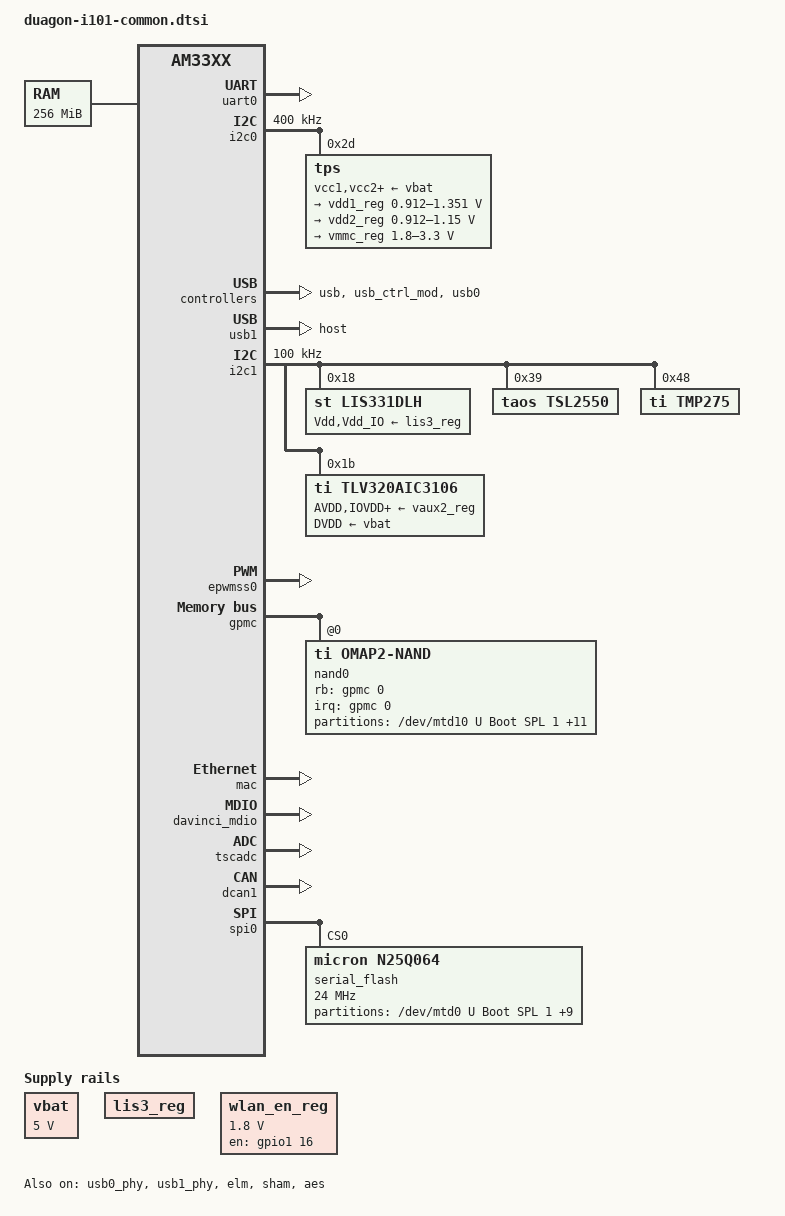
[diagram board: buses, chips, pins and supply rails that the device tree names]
/*
 * Copyright (C) 2012 Texas Instruments Incorporated - http://www.ti.com/
 *
 * This program is free software; you can redistribute it and/or modify
 * it under the terms of the GNU General Public License version 2 as
 * published by the Free Software Foundation.
 */
/dts-v1/;

#include "am33xx.dtsi"
#include <dt-bindings/interrupt-controller/irq.h>

/ {
	cpus {
		cpu@0 {
			cpu0-supply = <&vdd1_reg>;
		};
	};

	memory@80000000 {
		device_type = "memory";
		reg = <0x80000000 0x10000000>; /* 256 MB */
	};

	chosen {
		stdout-path = &uart0;
	};

	vbat: fixedregulator0 {
		compatible = "regulator-fixed";
		regulator-name = "vbat";
		regulator-min-microvolt = <5000000>;
		regulator-max-microvolt = <5000000>;
		regulator-boot-on;
	};

	lis3_reg: fixedregulator1 {
		compatible = "regulator-fixed";
		regulator-name = "lis3_reg";
		regulator-boot-on;
	};

	wlan_en_reg: fixedregulator2 {
		compatible = "regulator-fixed";
		regulator-name = "wlan-en-regulator";
		regulator-min-microvolt = <1800000>;
		regulator-max-microvolt = <1800000>;

		/* WLAN_EN GPIO for this board - Bank1, pin16 */
		gpio = <&gpio1 16 0>;

		/* WLAN card specific delay */
		startup-delay-us = <70000>;
		enable-active-high;
	};

	backplane: backplane@018000000 {
		compatible = "duagon,ionia-backplane";
		reg = <0x18000000 4000000>;	// 64 MB - async area
		// sync area 0x1C000000..0x1FFFFFFF

		slots {
			#address-cells = <1>;
			#size-cells = <1>;

			slot0: slot0@000 {
				reg = <0x000 0x08>;
				label = "bp channel 0";
			};
			slot1: slot0@010 {
				reg = <0x010 0x08>;
				label = "bp channel 0";
			};
			slot2: slot0@020 {
				reg = <0x020 0x08>;
				label = "bp channel 2";
			};
			slot3: slot0@030 {
				reg = <0x030 0x08>;
				label = "bp channel 3";
			};
			slot4: slot0@040 {
				reg = <0x040 0x08>;
				label = "bp channel 4";
			};
			slot5: slot0@050 {
				reg = <0x050 0x08>;
				label = "bp channel 5";
			};
			slot6: slot0@060 {
				reg = <0x060 0x08>;
				label = "bp channel 6";
			};
			slot7: slot0@070 {
				reg = <0x070 0x08>;
				label = "bp channel 7";
			};
			slot8: slot0@080 {
				reg = <0x080 0x08>;
				label = "bp channel 8";
			};
			slot9: slot0@090 {
				reg = <0x090 0x08>;
				label = "bp channel 9";
			};
			slot10: slot0@0a0 {
				reg = <0x0a0 0x08>;
				label = "bp channel 10";
			};
			slot11: slot0@0b0 {
				reg = <0x0b0 0x08>;
				label = "bp channel 11";
			};
			slot12: slot0@0c0 {
				reg = <0x0c0 0x08>;
				label = "bp channel 12";
			};
			slot13: slot0@0d0 {
				reg = <0x0d0 0x08>;
				label = "bp channel 13";
			};
			slot14: slot0@0e0 {
				reg = <0x0e0 0x08>;
				label = "bp channel 14";
			};
			slot15: slot0@0f0 {
				reg = <0x0f0 0x08>;
				label = "bp channel 15";
			};
			slot16: slot0@100 {
				reg = <0x100 0x08>;
				label = "bp channel 16";
			};
			slot17: slot0@110 {
				reg = <0x110 0x08>;
				label = "bp channel 17";
			};
			slot18: slot0@120 {
				reg = <0x120 0x08>;
				label = "bp channel 18";
			};
			slot19: slot0@130 {
				reg = <0x130 0x08>;
				label = "bp channel 19";
			};
			slot20: slot0@140 {
				reg = <0x140 0x08>;
				label = "bp channel 20";
			};
			slot21: slot0@150 {
				reg = <0x150 0x08>;
				label = "bp channel 21";
			};
			slot22: slot0@160 {
				reg = <0x160 0x08>;
				label = "bp channel 22";
			};
			slot23: slot0@180 {
				reg = <0x180 0x08>;
				label = "bp channel 23";
			};
			slot24: slot0@190 {
				reg = <0x190 0x08>;
				label = "bp channel 24";
			};
		};
	};
};

&am33xx_pinmux {
	pinctrl-names = "default";
	pinctrl-0 = <&clkout2_pin>;

	/* Module pin mux for SPI flash */
	/* FIXME: still needed ? daughter board ? */
	spi0_pins: spi0_pins {
		pinctrl-single,pins = <
			AM33XX_IOPAD(0x950, PIN_INPUT_PULLDOWN | MUX_MODE0)	/* spi0_sclk.spi0_sclk */
			AM33XX_IOPAD(0x954, PIN_INPUT_PULLUP | MUX_MODE0)	/* spi0_d0.spi0_d0 */
			AM33XX_IOPAD(0x958, PIN_INPUT_PULLDOWN | MUX_MODE0)	/* spi0_d1.spi0_d1 */
			AM33XX_IOPAD(0x95c, PIN_INPUT_PULLUP | MUX_MODE0)	/* spi0_cs0.spi0_cs0 */
		>;
	};

	i2c0_pins: pinmux_i2c0_pins {
		pinctrl-single,pins = <
			AM33XX_IOPAD(0x988, PIN_INPUT_PULLUP | MUX_MODE0)	/* i2c0_sda.i2c0_sda */
			AM33XX_IOPAD(0x98c, PIN_INPUT_PULLUP | MUX_MODE0)	/* i2c0_scl.i2c0_scl */
		>;
	};

	i2c1_pins: pinmux_i2c1_pins {
		pinctrl-single,pins = <
			AM33XX_IOPAD(0x978, PIN_INPUT_PULLUP | SLEWCTRL_SLOW | MUX_MODE2)	/* uart1_ctsn.i2c1_sda */
			AM33XX_IOPAD(0x97c, PIN_INPUT_PULLUP | SLEWCTRL_SLOW | MUX_MODE2)	/* uart1_rtsn.i2c1_scl */
		>;
	};

	uart0_pins: pinmux_uart0_pins {
		pinctrl-single,pins = <
			AM33XX_IOPAD(0x970, PIN_INPUT_PULLUP | MUX_MODE0)	/* uart0_rxd.uart0_rxd */
			AM33XX_IOPAD(0x974, PIN_OUTPUT_PULLDOWN | MUX_MODE0)	/* uart0_txd.uart0_txd */
		>;
	};

	/* hand out clkout2 clock to peripherals (codecs ? gpmc ?) */
	clkout2_pin: pinmux_clkout2_pin {
		pinctrl-single,pins = <
			AM33XX_IOPAD(0x9b4, PIN_OUTPUT_PULLDOWN | MUX_MODE3)	/* xdma_event_intr1.clkout2 */
		>;
	};

	/* FIXME: really neeeded ? */
	ecap0_pins: backlight_pins {
		pinctrl-single,pins = <
			AM33XX_IOPAD(0x964, MUX_MODE0)	/* eCAP0_in_PWM0_out.eCAP0_in_PWM0_out */
		>;
	};

	/* FIXME: separate them by board ? */
	cpsw_sleep: cpsw_sleep {
		pinctrl-single,pins = <
			/* Slave 1 reset value */
			// FIXME: should we really map them to gpios ?
			AM33XX_IOPAD(0x914, PIN_INPUT_PULLDOWN | MUX_MODE7)
			AM33XX_IOPAD(0x918, PIN_INPUT_PULLDOWN | MUX_MODE7)
			AM33XX_IOPAD(0x91c, PIN_INPUT_PULLDOWN | MUX_MODE7)
			AM33XX_IOPAD(0x920, PIN_INPUT_PULLDOWN | MUX_MODE7)
			AM33XX_IOPAD(0x924, PIN_INPUT_PULLDOWN | MUX_MODE7)
			AM33XX_IOPAD(0x928, PIN_INPUT_PULLDOWN | MUX_MODE7)
			AM33XX_IOPAD(0x92c, PIN_INPUT_PULLDOWN | MUX_MODE7)
			AM33XX_IOPAD(0x930, PIN_INPUT_PULLDOWN | MUX_MODE7)
			AM33XX_IOPAD(0x934, PIN_INPUT_PULLDOWN | MUX_MODE7)
			AM33XX_IOPAD(0x938, PIN_INPUT_PULLDOWN | MUX_MODE7)
			AM33XX_IOPAD(0x93c, PIN_INPUT_PULLDOWN | MUX_MODE7)
			AM33XX_IOPAD(0x940, PIN_INPUT_PULLDOWN | MUX_MODE7)
		>;
	};

	davinci_mdio_default: davinci_mdio_default {
		pinctrl-single,pins = <
			/* MDIO */
			AM33XX_IOPAD(0x948, PIN_INPUT_PULLUP | MUX_MODE0)	/* mdio_data.mdio_data */
			AM33XX_IOPAD(0x94c, PIN_OUTPUT_PULLUP | MUX_MODE0)	/* mdio_clk.mdio_clk */
		>;
	};

	davinci_mdio_sleep: davinci_mdio_sleep {
		pinctrl-single,pins = <
			/* MDIO reset value */
			AM33XX_IOPAD(0x948, PIN_INPUT_PULLDOWN | MUX_MODE7)
			AM33XX_IOPAD(0x94c, PIN_INPUT_PULLDOWN | MUX_MODE7)
		>;
	};

	usb0_pins: pinmux_usb0_pins {
		pinctrl-single,pins = <
			AM33XX_IOPAD(0x0A1C, MUX_MODE0 | PIN_OUTPUT_PULLDOWN)	/* usb0_drvvbus.usb0_drvvbus */
		>;
	};

	usb1_pins: pinmux_usb1_pins {
		pinctrl-single,pins = <
			AM33XX_IOPAD(0x0A34, MUX_MODE0 | PIN_OUTPUT_PULLDOWN)	/* usb1_drvvbus.usb1_drvvbus */
		>;
	};

	// FIXME: check IO directions
	dcan1_pins_default: dcan1_pins_default {
		pinctrl-single,pins = <
			AM33XX_IOPAD(0x980, MUX_MODE2 | PIN_INPUT_PULLUP)	/* uart1_txd.dcan1_rx */
			AM33XX_IOPAD(0x984, MUX_MODE2 | PIN_INPUT_PULLUP)	/* uart1_rxd.dcan1_tx */
		>;
	};
};

&uart0 {
	pinctrl-names = "default";
	pinctrl-0 = <&uart0_pins>;

	status = "okay";
};

&i2c0 {
	pinctrl-names = "default";
	pinctrl-0 = <&i2c0_pins>;

	status = "okay";
	clock-frequency = <400000>;

	tps: tps@2d {
		reg = <0x2d>;
	};
};

&usb {
	status = "okay";
};

&usb_ctrl_mod {
	status = "okay";
};

&usb0_phy {
	status = "okay";
};

&usb1_phy {
	status = "okay";
};

&usb0 {
	status = "okay";
	pinctrl-names = "default";
	pinctrl-0 = <&usb0_pins>;
};

&usb1 {
	status = "okay";
	dr_mode = "host";
	pinctrl-names = "default";
	pinctrl-0 = <&usb1_pins>;
};

&cppi41dma  {
	status = "okay";
};

&i2c1 {
	pinctrl-names = "default";
	pinctrl-0 = <&i2c1_pins>;

	status = "okay";
	clock-frequency = <100000>;

	lis331dlh: lis331dlh@18 {
		compatible = "st,lis331dlh", "st,lis3lv02d";
		reg = <0x18>;
		Vdd-supply = <&lis3_reg>;
		Vdd_IO-supply = <&lis3_reg>;

		st,click-single-x;
		st,click-single-y;
		st,click-single-z;
		st,click-thresh-x = <10>;
		st,click-thresh-y = <10>;
		st,click-thresh-z = <10>;
		st,irq1-click;
		st,irq2-click;
		st,wakeup-x-lo;
		st,wakeup-x-hi;
		st,wakeup-y-lo;
		st,wakeup-y-hi;
		st,wakeup-z-lo;
		st,wakeup-z-hi;
		st,min-limit-x = <120>;
		st,min-limit-y = <120>;
		st,min-limit-z = <140>;
		st,max-limit-x = <550>;
		st,max-limit-y = <550>;
		st,max-limit-z = <750>;
	};

	tsl2550: tsl2550@39 {
		compatible = "taos,tsl2550";
		reg = <0x39>;
	};

	tmp275: tmp275@48 {
		compatible = "ti,tmp275";
		reg = <0x48>;
	};

	tlv320aic3106: tlv320aic3106@1b {
		#sound-dai-cells = <0>;
		compatible = "ti,tlv320aic3106";
		reg = <0x1b>;
		status = "okay";

		/* Regulators */
		AVDD-supply = <&vaux2_reg>;
		IOVDD-supply = <&vaux2_reg>;
		DRVDD-supply = <&vaux2_reg>;
		DVDD-supply = <&vbat>;
	};
};

&lcdc {
	status = "disable";
	blue-and-red-wiring = "crossed";
};

&elm {
	status = "okay";
};

&epwmss0 {
	status = "okay";

	ecap0: ecap@48300100 {
		status = "okay";
		pinctrl-names = "default";
		pinctrl-0 = <&ecap0_pins>;
	};
};

&gpmc {
	status = "okay";
	pinctrl-names = "default";
	pinctrl-0 = <&nandflash_pins_s0>;
#if 0
	ranges = <0 0 0x08000000 0x1000000	/* CS0: 16MB for NAND */
		  2 0 0x18000000 0x4000000	/* CS2: 64MB for FPGA async */
		  3 0 0x1C000000 0x4000000>;	/* CS3: 64MB for FPGA sync */*
#else
	ranges = <0 0 0x08000000 0x1000000>;	/* CS0: 16MB for NAND */
#endif
	nand0: nand@0,0 {
		compatible = "ti,omap2-nand";
		reg = <0 0 4>; /* CS0, offset 0, IO size 4 */
		interrupt-parent = <&gpmc>;
		interrupts = <0 IRQ_TYPE_NONE>, /* fifoevent */
			     <1 IRQ_TYPE_NONE>;	/* termcount */
		rb-gpios = <&gpmc 0 GPIO_ACTIVE_HIGH>; /* gpmc_wait0 */ // FIXME
		ti,nand-ecc-opt = "bch8";
		ti,elm-id = <&elm>;
		nand-bus-width = <8>;
		gpmc,device-width = <1>;
		gpmc,sync-clk-ps = <0>;
		gpmc,cs-on-ns = <0>;
		gpmc,cs-rd-off-ns = <44>;
		gpmc,cs-wr-off-ns = <44>;
		gpmc,adv-on-ns = <6>;
		gpmc,adv-rd-off-ns = <34>;
		gpmc,adv-wr-off-ns = <44>;
		gpmc,we-on-ns = <0>;
		gpmc,we-off-ns = <40>;
		gpmc,oe-on-ns = <0>;
		gpmc,oe-off-ns = <54>;
		gpmc,access-ns = <64>;
		gpmc,rd-cycle-ns = <82>;
		gpmc,wr-cycle-ns = <82>;
		gpmc,bus-turnaround-ns = <0>;
		gpmc,cycle2cycle-delay-ns = <0>;
		gpmc,clk-activation-ns = <0>;
		gpmc,wr-access-ns = <40>;
		gpmc,wr-data-mux-bus-ns = <0>;
		/* MTD partition table */
		/* All SPL-* partitions are sized to minimal length
		 * which can be independently programmable. For
		 * NAND flash this is equal to size of erase-block */
		#address-cells = <1>;
		#size-cells = <1>;
		partition@0 {
			label = "/dev/mtd10 U Boot SPL 1";
			reg = <0x000000000 0x000080000>;
		};
		partition@1 {
			label = "/dev/mtd11 U-Boot 1";
			reg = <0x000080000 0x000080000>;
		};
		partition@2 {
			label = "/dev/mtd12 U-Boot Env 1_1";
			reg = <0x000100000 0x000080000>;
		};
		partition@3 {
			label = "/dev/mtd13 U-Boot Env 1_2";
			reg = <0x000180000 0x000080000>;
		};
		partition@4 {
			label = "/dev/mtd14 Kernel 1";
			reg = <0x000200000 0x000e00000>;
		};
		partition@5 {
			label = "/dev/mtd15 File System";
			reg = <0x001000000 0x01f000000>;
		};
		partition@6 {
			label = "/dev/mtd16 U Boot SPL 2";
			reg = <0x020000000 0x000080000>;
		};
		partition@7 {
			label = "/dev/mtd17 U-Boot 2";
			reg = <0x020080000 0x000080000>;
		};
		partition@8 {
			label = "/dev/mtd18 U-Boot Env 2_1";
			reg = <0x020100000 0x000080000>;
		};
		partition@9 {
			label = "/dev/mtd19 U-Boot Env 2_2";
			reg = <0x020180000 0x000080000>;
		};
		partition@10 {
			label = "/dev/mtd20 Kernel 2";
			reg = <0x020200000 0x000e00000>;
		};
		partition@11 {
			label = "/dev/mtd21 File System";
			reg = <0x021000000 0x01f000000>;
		};
	};

#if 0
	backplane: backplane@018000000 {
		compatible = "duagon,i101-backplane";
		// FIXME
		reg = <2 0 4>; /* CS2, offset 0, IO size 4 */

		/* config1 */
		gpmc,burst-length	= <4>;
		gpmc,device-width	= <2>;
		gpmc,mux-add-data	= <2>;
		gpmc,wait-pin		= <0>;
		// gpmc clock 	= 1/2 fclk (GPMCFCLKDIVIDER=1)

		/* config2 */
		gpmc,cs-wr-off-ns	= <44>;	// FIXME: 7 fclk cylces
		gpmc,cs-rd-off-ns	= <44>;	// FIXME: 11 fclk cycles
		gpmc,cs-on-ns		= <0>;
		// CSEXTRADELAY		= 0

		/* config3 */
		gpmc,adv-rd-off-ns	= <34>;	// FIXME: 3 fclk cycles
		gpmc,adv-wr-off-ns	= <44>;	// FIXME: 3 fclk cycles
		gpmc,adv-on-ns		= <6>;	// FIXME: 1 fclk cycles

		/* config4 */
		gpmc,we-off-ns		= <40>;	// FIXME: 7 fclk cycles
		gpmc,we-on-ns		= <0>;	// FIXME: 3 fclk cycles
		gpmc,oe-off-ns		= <54>;	// FIXME: 11 fclk cycles
		gpmc,oe-on-ns		= <0>;	// FIXME: 3 fclk cycles
		// WEEXTRADELAY		= 0
		// OEAADMUXOFFTIME	= 3
		// OEEXTRADELAY		= 0
		// OEAADMUXONTIME	= 1

		/* config5 */
		// PAGEBURSTACCESSTIME=1
		gpmc,rd-cycle-ns		= <82>;	// FIXME: 8 fclk cycles
		gpmc,wr-cycle-ns		= <82>;	// FIXME: 8 fclk cycles
		gpmc,access-ns			= <64>;	// FIXME: 10 fclk cycles

		/* config6 */
		gpmc,wr-access-ns		= <40>;	// FIXME: 4 fclk cycles
		gpmc,bus-turnaround-ns		= <0>;	// FIXME: 1 fclk cycles
		gpmc,cycle2cycle-delay-ns	= <0>;	// FIXME: 1 fclk cycles
		// WRACCESSTIME = 4
		// WRDATAONADMUXBUS = 3

		/* config7 */
		// MASKADDRESS = 12 (64mbytes)
		// CSVALID = 1 -> CSn enabled
		// BASEADDRESS = 0x18 (<<24)
		gpmc,clk-activation-ns = <0>;	// ??

		gpmc,wr-data-mux-bus-ns		= <0>;	// FIXME: 3 fclk cylces
		#address-cells = <1>;
		#size-cells = <1>;
	};
#endif
};

#include "tps65910.dtsi"

&tps {
	vcc1-supply = <&vbat>;
	vcc2-supply = <&vbat>;
	vcc3-supply = <&vbat>;
	vcc4-supply = <&vbat>;
	vcc5-supply = <&vbat>;
	vcc6-supply = <&vbat>;
	vcc7-supply = <&vbat>;
	vccio-supply = <&vbat>;

	regulators {
		vrtc_reg: regulator@0 {
			regulator-always-on;
		};

		vio_reg: regulator@1 {
			regulator-always-on;
		};

		vdd1_reg: regulator@2 {
			/* VDD_MPU voltage limits 0.95V - 1.26V with +/-4% tolerance */
			regulator-name = "vdd_mpu";
			regulator-min-microvolt = <912500>;
			regulator-max-microvolt = <1351500>;
			regulator-boot-on;
			regulator-always-on;
		};

		vdd2_reg: regulator@3 {
			/* VDD_CORE voltage limits 0.95V - 1.1V with +/-4% tolerance */
			regulator-name = "vdd_core";
			regulator-min-microvolt = <912500>;
			regulator-max-microvolt = <1150000>;
			regulator-boot-on;
			regulator-always-on;
		};

		vdd3_reg: regulator@4 {
			regulator-always-on;
		};

		vdig1_reg: regulator@5 {
			regulator-always-on;
		};

		vdig2_reg: regulator@6 {
			regulator-always-on;
		};

		vpll_reg: regulator@7 {
			regulator-always-on;
		};

		vdac_reg: regulator@8 {
			regulator-always-on;
		};

		vaux1_reg: regulator@9 {
			regulator-always-on;
		};

		vaux2_reg: regulator@10 {
			regulator-always-on;
		};

		vaux33_reg: regulator@11 {
			regulator-always-on;
		};

		vmmc_reg: regulator@12 {
			regulator-min-microvolt = <1800000>;
			regulator-max-microvolt = <3300000>;
			regulator-always-on;
		};
	};
};

&mac {
	pinctrl-names = "default", "sleep";
	pinctrl-0 = <&cpsw_default>;
	pinctrl-1 = <&cpsw_sleep>;
	slaves = <1>;
	status = "okay";
};

&davinci_mdio {
	pinctrl-names = "default", "sleep";
	pinctrl-0 = <&davinci_mdio_default>;
	pinctrl-1 = <&davinci_mdio_sleep>;
	status = "okay";
};

&phy_sel {
	rmii-clock-ext;		// clock provided by PHY
};

&tscadc {
	status = "okay";
	tsc {
		ti,wires = <4>;
		ti,x-plate-resistance = <200>;
		ti,coordinate-readouts = <5>;
		ti,wire-config = <0x00 0x11 0x22 0x33>;
		ti,charge-delay = <0x400>;
	};

	adc {
		ti,adc-channels = <4 5 6 7>;
	};
};

&sham {
	status = "okay";
};

&aes {
	status = "okay";
};

&dcan1 {
	status = "okay";
	pinctrl-names = "default";
	pinctrl-0 = <&dcan1_pins_default>;
};

&rtc {
	clocks = <&clk_32768_ck>, <&clkdiv32k_ick>;
	clock-names = "ext-clk", "int-clk";
};

&spi0 {
	pinctrl-names = "default";
	pinctrl-0 = <&spi0_pins>;
	status = "okay";

	serial_flash: m25p80@0 {
		#address-cells = <1>;
		#size-cells = <1>;
		compatible = "micron,n25q064", "jedec,spi-nor";
		reg = <0x0>;
		spi-max-frequency = <24000000>;
#if 0
		m25p,fast-read;
#endif
		status = "okay";

		partition@0 {
			label = "/dev/mtd0 U Boot SPL 1";
			reg = <0x0 0x20000>;
		};

		partition@1 {
			label = "/dev/mtd1 U-Boot 1";
			reg = <0x20000 0x40000>;
		};

		partition@2 {
			label = "/dev/mtd2 U-Boot Env 1";
			reg = <0x60000 0x10000>;
		};

		partition@3 {
			label = "/dev/mtd3 U-Boot Env 2";
			reg = <0x70000 0x10000>;
		};

		partition@4 {
			label = "/dev/mtd4 Kernel 1";
			reg = <0x80000 0x380000>;
		};

		partition@5 {
			label = "/dev/mtd5 U Boot SPL 2";
			reg = <0x400000 0x20000>;
		};

		partition@6 {
			label = "/dev/mtd6 U-Boot 2";
			reg = <0x420000 0x40000>;
		};

		partition@7 {
			label = "/dev/mtd7 U-Boot Env 3";
			reg = <0x460000 0x10000>;
		};

		partition@8 {
			label = "/dev/mtd8 U-Boot Env 4";
			reg = <0x470000 0x10000>;
		};

		partition@9 {
			label = "/dev/mtd9 Kernel 2";
			reg = <0x480000 0x380000>;
		};
	};
};
